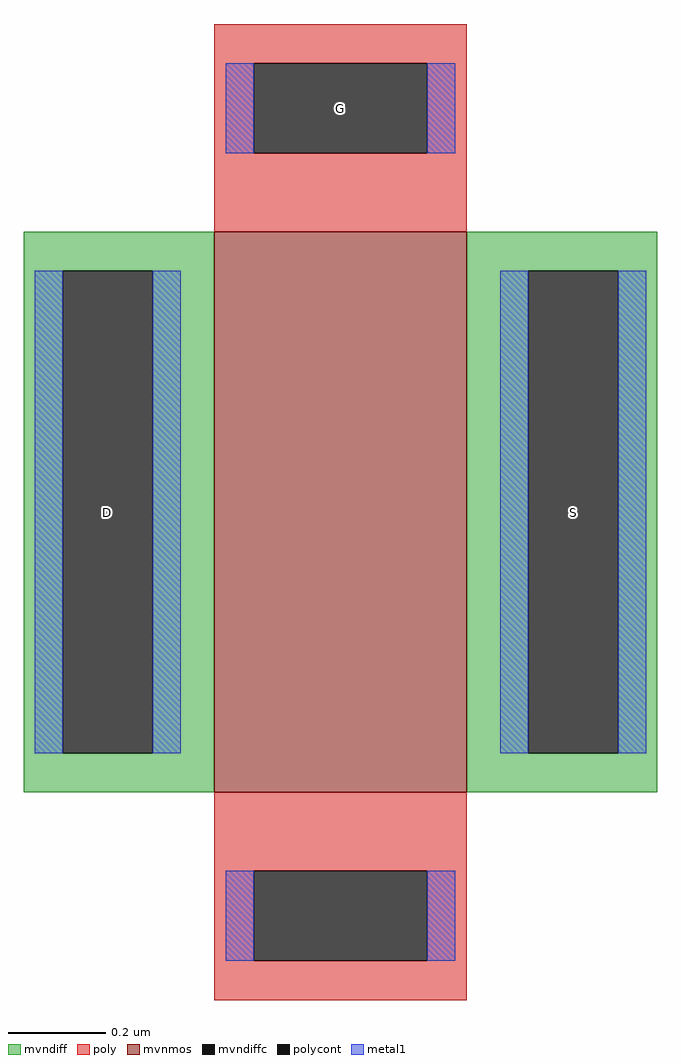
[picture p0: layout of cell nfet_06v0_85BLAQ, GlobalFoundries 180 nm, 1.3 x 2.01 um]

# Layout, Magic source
magic
tech gf180mcuD
magscale 3 26
<< mvnmos >>
rect -45 -100 45 100
<< mvndiff >>
rect -113 86 -45 100
rect -113 -86 -99 86
rect -67 -86 -45 86
rect -113 -100 -45 -86
rect 45 86 113 100
rect 45 -86 67 86
rect 99 -86 113 86
rect 45 -100 113 -86
<< mvndiffc >>
rect -99 -86 -67 86
rect 67 -86 99 86
<< poly >>
rect -45 160 45 174
rect -45 128 -31 160
rect 31 128 45 160
rect -45 100 45 128
rect -45 -128 45 -100
rect -45 -160 -31 -128
rect 31 -160 45 -128
rect -45 -174 45 -160
<< polycont >>
rect -31 128 31 160
rect -31 -160 31 -128
<< metal1 >>
rect -41 128 -31 160
rect 31 128 41 160
rect -109 -86 -99 86
rect -67 -86 -57 86
rect 57 -86 67 86
rect 99 -86 109 86
rect -41 -160 -31 -128
rect 31 -160 41 -128
<< labels >>
rlabel mvndiffc -83 0 -83 0 0 D
port 1 nsew
rlabel mvndiffc 83 0 83 0 0 S
port 2 nsew
rlabel polycont 0 144 0 144 0 G
port 3 nsew
<< properties >>
string gencell nfet_05v0
string library gf180mcu
string parameters w 1.0 l 0.45 m 1 ng 1 diffcov 100 polycov 100 guard 0 glc 1 grc 1 gtc 1 gbc 1 tbcov 100 rlcov 100 topc 1 botc 1 poverlap 0 doverlap 1 lmin 0.45 wmin 0.15 class mosfet compatible {nfet_05v0 nfet_06v0} full_metal 1 conn_gates 0 gate_ring 0 doports 1 viasrc 0 viadrn 0 viagate 0 ccols 1 viagb 0 viagr 0 viagl 0 viagt 0
<< end >>
